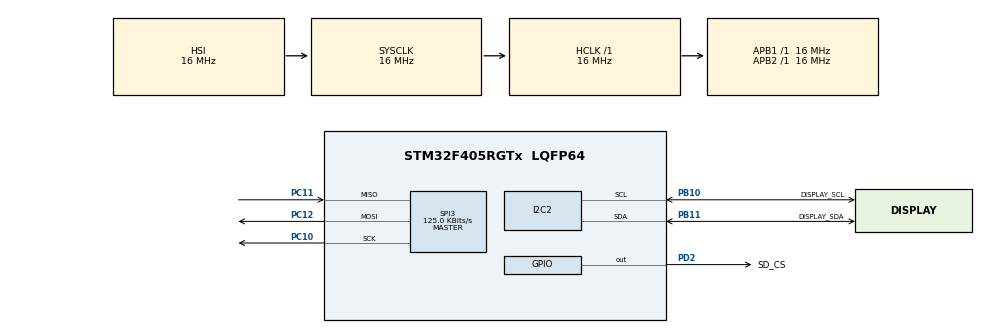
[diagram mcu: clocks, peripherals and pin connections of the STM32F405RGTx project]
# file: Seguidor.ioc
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FATFS._USE_LFN=3
Mcu.Family=STM32F4
Mcu.Name=STM32F405RGTx
Mcu.Package=LQFP64
NVIC.PriorityGroup=NVIC_PRIORITYGROUP_4
PA13.Mode=Serial_Wire
PA13.Signal=SYS_JTMS-SWDIO
PA14.Mode=Serial_Wire
PA14.Signal=SYS_JTCK-SWCLK
PB10.GPIO_Label=DISPLAY_SCL
PB10.Mode=I2C
PB10.Signal=I2C2_SCL
PB11.GPIO_Label=DISPLAY_SDA
PB11.Mode=I2C
PB11.Signal=I2C2_SDA
PC10.Mode=Full_Duplex_Master
PC10.Signal=SPI3_SCK
PC11.Mode=Full_Duplex_Master
PC11.Signal=SPI3_MISO
PC12.Mode=Full_Duplex_Master
PC12.Signal=SPI3_MOSI
PD2.GPIO_Label=SD_CS
PD2.GPIO_Speed=GPIO_SPEED_FREQ_HIGH
PD2.PinState=GPIO_PIN_SET
PD2.Signal=GPIO_Output
ProjectManager.HeapSize=0x200
ProjectManager.StackSize=0x400
ProjectManager.TargetToolchain=STM32CubeIDE
RCC.AHBFreq_Value=16000000
RCC.APB1Freq_Value=16000000
RCC.APB2Freq_Value=16000000
RCC.CortexFreq_Value=16000000
RCC.HSE_VALUE=25000000
RCC.HSI_VALUE=16000000
RCC.LSE_VALUE=32768
RCC.SYSCLKFreq_VALUE=16000000
RCC.VCOOutputFreq_Value=192000000
SPI3.BaudRatePrescaler=SPI_BAUDRATEPRESCALER_128
SPI3.CalculateBaudRate=125.0 KBits/s
SPI3.Direction=SPI_DIRECTION_2LINES
SPI3.Mode=SPI_MODE_MASTER
SPI3.VirtualType=VM_MASTER
VP_FATFS_VS_Generic.Mode=User_defined
board=custom

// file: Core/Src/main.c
/* USER CODE BEGIN Header */
/**
  ******************************************************************************
  * @file           : main.c
  * @brief          : Main program body
  ******************************************************************************
  * @attention
  *
  * Copyright (c) 2025 STMicroelectronics.
  * All rights reserved.
  *
  * This software is licensed under terms that can be found in the LICENSE file
  * in the root directory of this software component.
  * If no LICENSE file comes with this software, it is provided AS-IS.
  *
  ******************************************************************************
  */
/* USER CODE END Header */
#include "main.h"
#include "fatfs.h"

/* USER CODE BEGIN Includes */
#include "display.h"
#include "sd.h"
/* USER CODE END Includes */

I2C_HandleTypeDef hi2c2;

SPI_HandleTypeDef hspi3;

void SystemClock_Config(void);
static void MX_GPIO_Init(void);
static void MX_I2C2_Init(void);
static void MX_SPI3_Init(void);

int main(void)
{

  /* MCU Configuration--------------------------------------------------------*/

  /* Reset of all peripherals, Initializes the Flash interface and the Systick. */
  HAL_Init();

  /* Configure the system clock */
  SystemClock_Config();

  /* Initialize all configured peripherals */
  MX_GPIO_Init();
  MX_I2C2_Init();
  MX_SPI3_Init();
  MX_FATFS_Init();
  /* USER CODE BEGIN 2 */
  inicializarDisplay();

  mostrarMensagemComTitulo("Inicializando", "Sistema Ligado...", 2000);

  // Monta o Cartão SD e reporta o status
  inicializaMontarCartao();

  // Obtém informações do cartão e exibe no display
  inicializaMostrarDetalhesCartao();

  // Grava um log no cartão SD
  mostrarMensagemComTitulo("GRAVANDO...", "Escrevendo no log...", 1000);
  if (adicionaStringAoArquivo("log.txt", "Mensagem Gravada ao Arquivo!\r\n") == HAL_OK) {
	  mostrarMensagemComTitulo("SUCESSO", "Log gravado no SD!", 2000);
  } else {
	  mostrarMensagemComTitulo("ERRO", "Falha ao gravar log!", 2000);
  }

  // Desmonta o cartão (opcional, boa prática se não for usar mais)
  desmontarCartaoSD();

  // Crie uma string longa para teste
  char* long_message = "Este e um teste de uma mensagem muito longa que nao cabe em uma unica linha do display. O sistema deve quebrar o texto em varias linhas e, se necessario, em varias paginas. Testando 1, 2, 3.";

  // Chame a nova função em vez da antiga
  // A função cuidará da paginação e dos delays automaticamente.
  mostrarMensagemPaginada("Log Detalhado", long_message, 6000);

  // Espera um pouco antes de continuar
  HAL_Delay(6000);

  // Você pode continuar usando a função antiga para mensagens curtas
  mostrarMensagemComTitulo("SUCESSO", "Operacao finalizada!", 2000);
  /* USER CODE END 2 */

  /* Infinite loop */
  while (1)
  {

  }
}

void SystemClock_Config(void)
{
  RCC_OscInitTypeDef RCC_OscInitStruct = {0};
  RCC_ClkInitTypeDef RCC_ClkInitStruct = {0};

  /** Configure the main internal regulator output voltage
  */
  __HAL_RCC_PWR_CLK_ENABLE();
  __HAL_PWR_VOLTAGESCALING_CONFIG(PWR_REGULATOR_VOLTAGE_SCALE1);

  /** Initializes the RCC Oscillators according to the specified parameters
  * in the RCC_OscInitTypeDef structure.
  */
  RCC_OscInitStruct.OscillatorType = RCC_OSCILLATORTYPE_HSI;
  RCC_OscInitStruct.HSIState = RCC_HSI_ON;
  RCC_OscInitStruct.HSICalibrationValue = RCC_HSICALIBRATION_DEFAULT;
  RCC_OscInitStruct.PLL.PLLState = RCC_PLL_NONE;
  if (HAL_RCC_OscConfig(&RCC_OscInitStruct) != HAL_OK)
  {
    Error_Handler();
  }

  /** Initializes the CPU, AHB and APB buses clocks
  */
  RCC_ClkInitStruct.ClockType = RCC_CLOCKTYPE_HCLK|RCC_CLOCKTYPE_SYSCLK
                              |RCC_CLOCKTYPE_PCLK1|RCC_CLOCKTYPE_PCLK2;
  RCC_ClkInitStruct.SYSCLKSource = RCC_SYSCLKSOURCE_HSI;
  RCC_ClkInitStruct.AHBCLKDivider = RCC_SYSCLK_DIV1;
  RCC_ClkInitStruct.APB1CLKDivider = RCC_HCLK_DIV1;
  RCC_ClkInitStruct.APB2CLKDivider = RCC_HCLK_DIV1;

  if (HAL_RCC_ClockConfig(&RCC_ClkInitStruct, FLASH_LATENCY_0) != HAL_OK)
  {
    Error_Handler();
  }
}

static void MX_I2C2_Init(void)
{

  hi2c2.Instance = I2C2;
  hi2c2.Init.ClockSpeed = 100000;
  hi2c2.Init.DutyCycle = I2C_DUTYCYCLE_2;
  hi2c2.Init.OwnAddress1 = 0;
  hi2c2.Init.AddressingMode = I2C_ADDRESSINGMODE_7BIT;
  hi2c2.Init.DualAddressMode = I2C_DUALADDRESS_DISABLE;
  hi2c2.Init.OwnAddress2 = 0;
  hi2c2.Init.GeneralCallMode = I2C_GENERALCALL_DISABLE;
  hi2c2.Init.NoStretchMode = I2C_NOSTRETCH_DISABLE;
  if (HAL_I2C_Init(&hi2c2) != HAL_OK)
  {
    Error_Handler();
  }

}

static void MX_SPI3_Init(void)
{

  /* SPI3 parameter configuration*/
  hspi3.Instance = SPI3;
  hspi3.Init.Mode = SPI_MODE_MASTER;
  hspi3.Init.Direction = SPI_DIRECTION_2LINES;
  hspi3.Init.DataSize = SPI_DATASIZE_8BIT;
  hspi3.Init.CLKPolarity = SPI_POLARITY_LOW;
  hspi3.Init.CLKPhase = SPI_PHASE_1EDGE;
  hspi3.Init.NSS = SPI_NSS_SOFT;
  hspi3.Init.BaudRatePrescaler = SPI_BAUDRATEPRESCALER_128;
  hspi3.Init.FirstBit = SPI_FIRSTBIT_MSB;
  hspi3.Init.TIMode = SPI_TIMODE_DISABLE;
  hspi3.Init.CRCCalculation = SPI_CRCCALCULATION_DISABLE;
  hspi3.Init.CRCPolynomial = 10;
  if (HAL_SPI_Init(&hspi3) != HAL_OK)
  {
    Error_Handler();
  }

}

static void MX_GPIO_Init(void)
{
  GPIO_InitTypeDef GPIO_InitStruct = {0};

  /* GPIO Ports Clock Enable */
  __HAL_RCC_GPIOB_CLK_ENABLE();
  __HAL_RCC_GPIOA_CLK_ENABLE();
  __HAL_RCC_GPIOC_CLK_ENABLE();
  __HAL_RCC_GPIOD_CLK_ENABLE();

  /*Configure GPIO pin Output Level */
  HAL_GPIO_WritePin(SD_CS_GPIO_Port, SD_CS_Pin, GPIO_PIN_SET);

  /*Configure GPIO pin : SD_CS_Pin */
  GPIO_InitStruct.Pin = SD_CS_Pin;
  GPIO_InitStruct.Mode = GPIO_MODE_OUTPUT_PP;
  GPIO_InitStruct.Pull = GPIO_NOPULL;
  GPIO_InitStruct.Speed = GPIO_SPEED_FREQ_HIGH;
  HAL_GPIO_Init(SD_CS_GPIO_Port, &GPIO_InitStruct);

}

void Error_Handler(void)
{
  __disable_irq();
  while (1)
  {
  }
}
